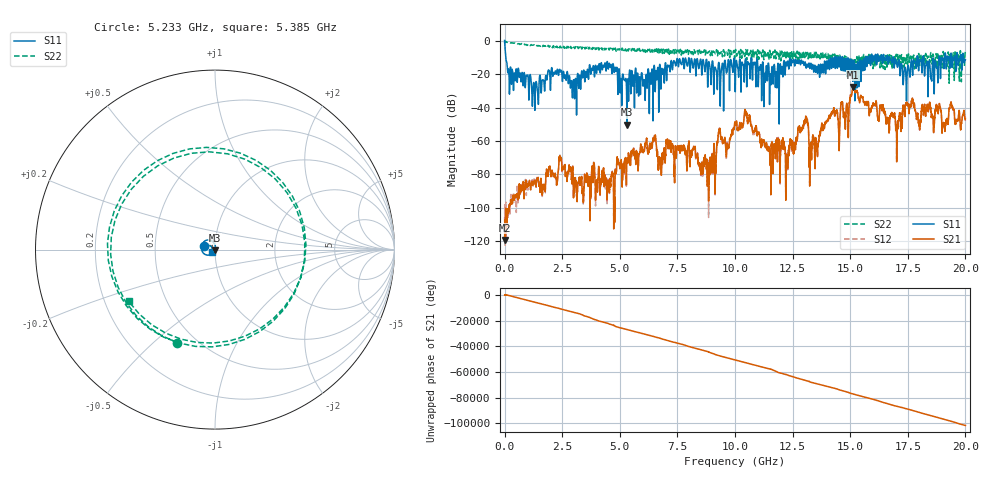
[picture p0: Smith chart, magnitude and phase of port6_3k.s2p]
! MS46122B
! 2250307/22442219
! 8/1/2025 10:34:54 AM
! C:\USERS\SPARKY\DOCUMENTS\VNA_DATA\AUGUST1_2025\3K\PORT6.S2P
! CHANNEL.1
! TR.MEASUREMENT
! RAW.DATA
# GHZ S RI R 50.0
! FREQ.GHZ  S11RE  S11IM  S21RE  S21IM  S12RE  S12IM  S22RE  S22IM
!; PortSelection: Port_12
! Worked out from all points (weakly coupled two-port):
!   10001 points, 1 MHz to 20 GHz, reference 50 ohm
!   highest |S21| = -27.50 dB at 15.13 GHz (marker M1); lowest = -119.3 dB at 27 MHz (marker M2)
!   lowest |S11| = -50.3 dB at 5.307 GHz (marker M3), VSWR 1.01, Z = 50 - j0.306 ohm
!   |S11| at or under -10 dB: 53.52 MHz to 7.998 GHz (7.944 GHz wide, 197 % of centre); 7.999 GHz to 10.7 GHz (2.704 GHz wide, 28.9 % of centre); 10.71 GHz to 14.14 GHz (3.426 GHz wide, 27.6 % of centre) (the widest 3 of 35)
!   |S22| runs from -25.3 to 0.1 dB; largest |S21 - S12| = 0.0014
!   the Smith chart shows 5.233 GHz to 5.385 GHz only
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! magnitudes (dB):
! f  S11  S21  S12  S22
! 1 MHz  0.4  -110.4  -113.6  -0.1
! 27 MHz  -5.6  -119.3  -118.3  -0.5
! 215 MHz  -29.8  -98.9  -101.4  -0.8
! 1.253 GHz  -25.2  -85.6  -85.9  -2.4
! 3.335 GHz  -18.8  -82.2  -82.5  -4.3
! 4.529 GHz  -13.8  -85.5  -84.5  -5.2
! 5.307 GHz  -50.3  -72.6  -73.0  -4.8
! 6.473 GHz  -16.2  -59.4  -59.2  -6.2
! 6.669 GHz  -18.0  -74.9  -75.3  -4.7
! 7.113 GHz  -15.4  -62.0  -61.8  -4.8
! 8.891 GHz  -13.6  -77.7  -75.1  -5.9
! 9.305 GHz  -12.9  -53.0  -53.0  -6.3
! 9.677 GHz  -14.8  -63.0  -62.9  -8.5
! 10 GHz  -18.0  -48.6  -49.3  -7.2
! 10.5 GHz  -18.1  -43.1  -43.1  -9.3
! 12.26 GHz  -14.5  -69.0  -68.7  -6.1
! 13.08 GHz  -15.8  -46.1  -46.0  -7.3
! 13.33 GHz  -16.8  -64.6  -65.1  -9.0
! 15.13 GHz  -15.2  -27.5  -27.6  -12.3
! 16.67 GHz  -12.4  -47.2  -47.4  -12.9
! 17.37 GHz  -15.6  -45.3  -45.3  -10.2
! 20 GHz  -11.2  -46.5  -47.2  -5.9
